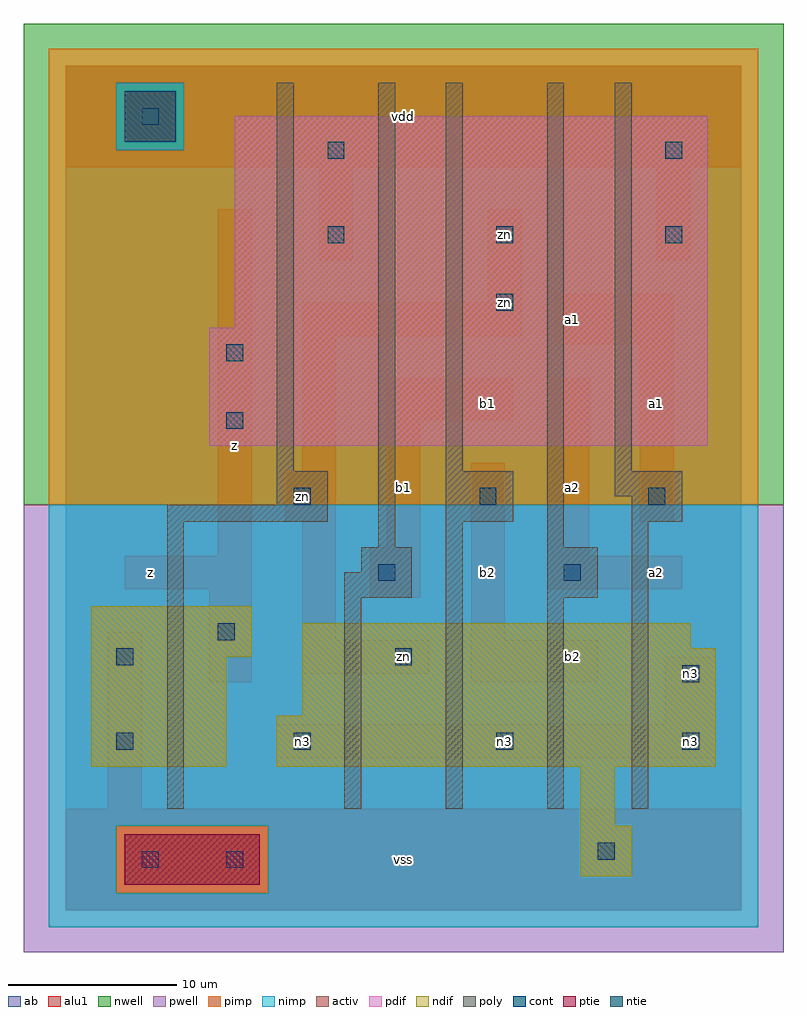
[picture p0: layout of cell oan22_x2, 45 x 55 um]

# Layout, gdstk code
import gdstk
lib = gdstk.Library(unit=1e-6, precision=1e-09)
def R(c, l, rs):  # rectangles x0, y0, x1, y1
    for r in rs: c.add(gdstk.rectangle(r[:2], r[2:], *l))
def A(c, l, x, y, w, h, nx, ny, dx, dy):  # array of equal rectangles
    R(c, l, [(x+i*dx, y+j*dy, x+i*dx+w, y+j*dy+h) for i in range(nx) for j in range(ny)])
ndif = (3, 0)
pdif = (4, 0)
ntie = (5, 0)
ptie = (6, 0)
cont = (25, 0)
pwell = (41, 0)
nwell = (42, 0)
activ = (43, 0)
pimp = (44, 0)
nimp = (45, 0)
poly = (46, 0)
alu1 = (49, 0)
ab = (63, 0)

oan22_x2 = lib.new_cell('oan22_x2')
R(oan22_x2, ndif, [(30.5,2,33.5,5), (30.5,5,32.5,8.5), (1.5,8.5,9.5,15), (12.5,8.5,38.5,11.5), (14,11.5,38.5,15.5), (1.5,15,11,18), (14,15.5,37,17)])
R(oan22_x2, pdif, [(8.5,27.5,38,34.5), (10,34.5,38,47)])
R(oan22_x2, ntie, [(3.5,45.5,6.5,48.5)])
R(oan22_x2, ptie, [(3.5,1.5,11.5,4.5)])
A(oan22_x2, cont, 15.5, 39.5, 1, 1, 3, 1, 10, 0)
R(oan22_x2, cont, [(4.5,2.5,5.5,3.5), (9.5,2.5,10.5,3.5), (31.5,3,32.5,4), (3,9.5,4,10.5), (13.5,9.5,14.5,10.5), (25.5,9.5,26.5,10.5), (36.5,9.5,37.5,10.5), (36.5,13.5,37.5,14.5), (3,14.5,4,15.5), (19.5,14.5,20.5,15.5), (9,16,10,17), (18.5,19.5,19.5,20.5), (29.5,19.5,30.5,20.5), (13.5,24,14.5,25), (24.5,24,25.5,25), (34.5,24,35.5,25), (9.5,28.5,10.5,29.5), (9.5,32.5,10.5,33.5), (25.5,35.5,26.5,36.5), (15.5,44.5,16.5,45.5), (35.5,44.5,36.5,45.5), (4.5,46.5,5.5,47.5)])
R(oan22_x2, pwell, [(-2.5,-2.5,42.5,24)])
R(oan22_x2, nwell, [(-2.5,24,42.5,52.5)])
R(oan22_x2, activ, [(3.5,1.5,11.5,4.5), (30.5,2,33.5,5), (30.5,5,32.5,8.5), (1.5,8.5,9.5,15), (12.5,8.5,38.5,11.5), (14,11.5,38.5,15.5), (1.5,15,11,18), (14,15.5,37,17), (8.5,27.5,38,34.5), (10,34.5,38,47), (3.5,45.5,6.5,48.5)])
R(oan22_x2, pimp, [(3,1,12,5), (-1,24,41,45), (-1,45,3,49), (7,45,41,49), (-1,49,41,51)])
R(oan22_x2, nimp, [(-1,-1,41,1), (-1,1,3,5), (12,1,41,5), (-1,5,41,24), (3,45,7,49)])
A(oan22_x2, poly, 12.5, 26, 1, 23, 3, 1, 10, 0)
R(oan22_x2, poly, [(6,6,7,23), (16.5,6,17.5,18.5), (22.5,6,23.5,23), (28.5,6,29.5,18.5), (33.5,6,34.5,23), (16.5,18.5,20.5,20), (28.5,18.5,31.5,21.5), (17.5,20,20.5,21.5), (18.5,21.5,19.5,49), (28.5,21.5,29.5,49), (6,23,15.5,24), (22.5,23,26.5,26), (33.5,23,36.5,24.5), (12.5,24,15.5,26), (32.5,24.5,36.5,26)])
R(oan22_x2, alu1, [(0,0,40,6), (0,0,40,6), (2.5,6,4.5,16.5), (2.5,6,4.5,16.5), (12.5,9,38.5,11), (12.5,9,38.5,11), (35.5,11,38.5,15), (35.5,11,38.5,15), (8.5,13.5,11,19), (8.5,13.5,11,19), (24,13.5,31.5,16), (24,13.5,31.5,16), (14,14,21.5,16), (14,14,21.5,16), (14,16,16,23), (14,16,16,23), (24,16,26,26.5), (24,16,26,26.5), (18,18.5,21,21.5), (18,18.5,21,21.5), (3.5,19,11,21), (3.5,19,11,21), (28.5,19,36.5,21), (28.5,19,36.5,21), (9,21,11,41.5), (9,21,11,41.5), (28.5,21,31,31.5), (28.5,21,31,31.5), (19,21.5,21,29), (19,21.5,21,29), (13,23,16,26), (13,23,16,26), (34,23,36,33.5), (34,23,36,33.5), (14,26,16,34), (14,26,16,34), (19,29,26.5,31.5), (19,29,26.5,31.5), (29,33.5,36,36.5), (29,33.5,36,36.5), (14,34,27,36), (14,34,27,36), (25,36,27,41.5), (25,36,27,41.5), (15,38.5,17,44), (15,38.5,17,44), (35,38.5,37,44), (35,38.5,37,44), (0,44,40,50), (0,44,40,50)])
R(oan22_x2, ab, [(0,0,40,50)])
oan22_x2.add(gdstk.Label('n3', (14,10), layer=49, texttype=0))
oan22_x2.add(gdstk.Label('zn', (14,24.5), layer=49, texttype=0))
oan22_x2.add(gdstk.Label('n3', (26,10), layer=49, texttype=0))
oan22_x2.add(gdstk.Label('zn', (20,15), layer=49, texttype=0))
oan22_x2.add(gdstk.Label('zn', (26,36), layer=49, texttype=0))
oan22_x2.add(gdstk.Label('zn', (26,40), layer=49, texttype=0))
oan22_x2.add(gdstk.Label('n3', (37,10), layer=49, texttype=0))
oan22_x2.add(gdstk.Label('n3', (37,14), layer=49, texttype=0))
oan22_x2.add(gdstk.Label('z', (5,20), layer=49, texttype=0))
oan22_x2.add(gdstk.Label('z', (10,27.5), layer=49, texttype=0))
oan22_x2.add(gdstk.Label('vss', (20,3), layer=49, texttype=0))
oan22_x2.add(gdstk.Label('b2', (25,20), layer=49, texttype=0))
oan22_x2.add(gdstk.Label('b1', (20,25), layer=49, texttype=0))
oan22_x2.add(gdstk.Label('b1', (25,30), layer=49, texttype=0))
oan22_x2.add(gdstk.Label('vdd', (20,47), layer=49, texttype=0))
oan22_x2.add(gdstk.Label('b2', (30,15), layer=49, texttype=0))
oan22_x2.add(gdstk.Label('a2', (35,20), layer=49, texttype=0))
oan22_x2.add(gdstk.Label('a2', (30,25), layer=49, texttype=0))
oan22_x2.add(gdstk.Label('a1', (30,35), layer=49, texttype=0))
oan22_x2.add(gdstk.Label('a1', (35,30), layer=49, texttype=0))

lib.write_gds('oan22_x2.gds')
